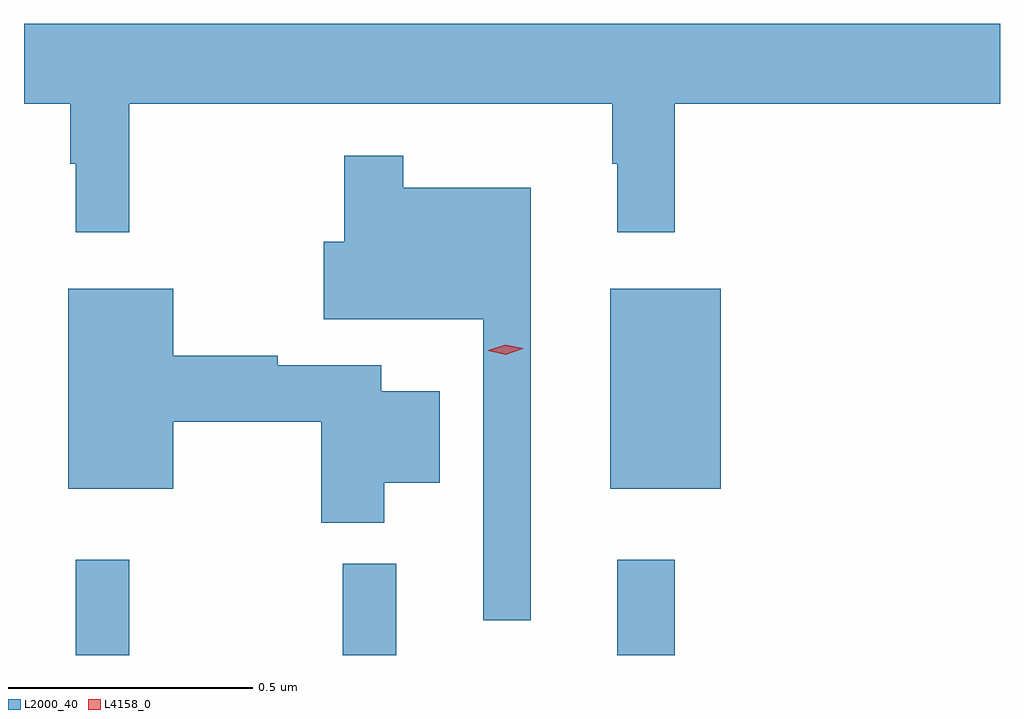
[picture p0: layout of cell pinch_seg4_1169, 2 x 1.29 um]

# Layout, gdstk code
import gdstk
lib = gdstk.Library(unit=1e-6, precision=1e-09)
def R(c, l, rs):  # rectangles x0, y0, x1, y1
    for r in rs: c.add(gdstk.rectangle(r[:2], r[2:], *l))
def P(c, l, *ps):  # polygons
    for p in ps: c.add(gdstk.Polygon(p, *l))
L2000_40 = (2000, 40)
L4158_0 = (4158, 0)

pinch_seg4_1169 = lib.new_cell('pinch_seg4_1169')
R(pinch_seg4_1169, L2000_40, [(486.08,774.378,486.19,774.574), (486.627,774.378,486.737,774.565), (487.19,774.378,487.307,774.574), (487.175,774.719,487.402,775.129)])
P(pinch_seg4_1169, L2000_40, [(486.19,775.508),(487.179,775.508),(487.179,775.385),(487.19,775.385),(487.19,775.245),(487.307,775.245),(487.307,775.508),(487.974,775.508),(487.974,775.672),(485.974,775.672),(485.974,775.508),(486.069,775.508),(486.069,775.385),(486.08,775.385),(486.08,775.245),(486.19,775.245)],
  [(487.012,775.336),(486.751,775.336),(486.751,775.402),(486.63,775.402),(486.63,775.225),(486.588,775.225),(486.588,775.067),(486.915,775.067),(486.915,774.45),(487.012,774.45)],
  [(486.712,774.731),(486.826,774.731),(486.826,774.919),(486.706,774.919),(486.706,774.972),(486.494,774.972),(486.494,774.992),(486.28,774.992),(486.28,775.129),(486.065,775.129),(486.065,774.719),(486.28,774.719),(486.28,774.856),(486.583,774.856),(486.583,774.65),(486.712,774.65)])
P(pinch_seg4_1169, L4158_0, [(486.961,774.994),(486.925,775.002),(486.925,775.002),(486.925,775.003),(486.96,775.014),(486.996,775.007),(486.996,775.006),(486.996,775.006)])

lib.write_gds('pinch_seg4_1169.gds')
